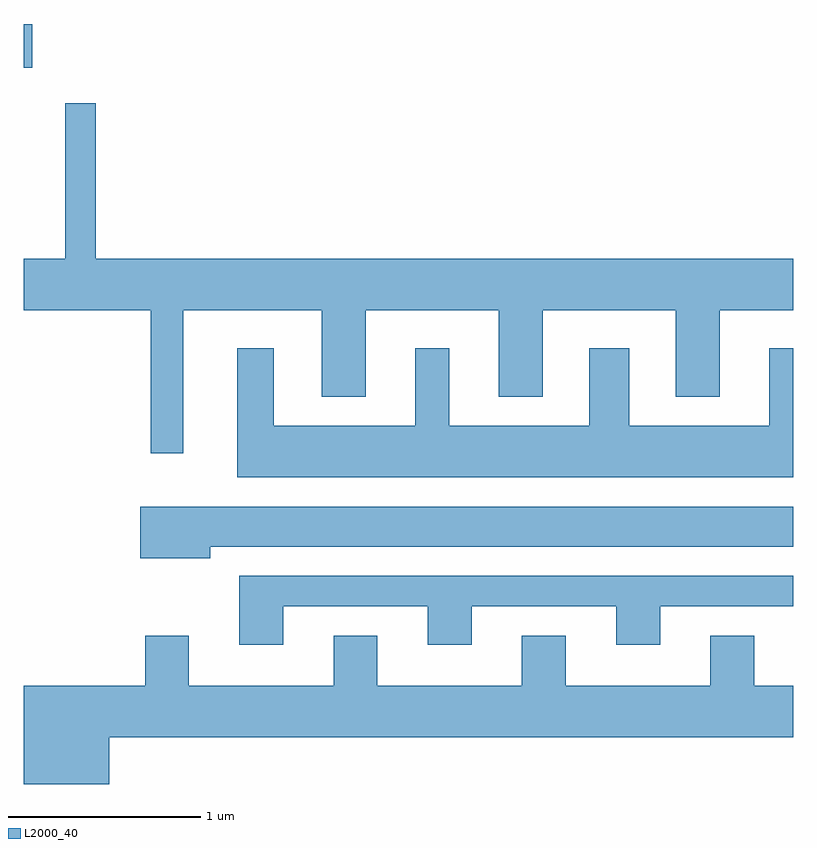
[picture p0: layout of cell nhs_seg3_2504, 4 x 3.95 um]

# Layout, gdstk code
import gdstk
lib = gdstk.Library(unit=1e-6, precision=1e-09)
def R(c, l, rs):  # rectangles x0, y0, x1, y1
    for r in rs: c.add(gdstk.rectangle(r[:2], r[2:], *l))
def P(c, l, *ps):  # polygons
    for p in ps: c.add(gdstk.Polygon(p, *l))
L2000_40 = (2000, 40)

nhs_seg3_2504 = lib.new_cell('nhs_seg3_2504')
R(nhs_seg3_2504, L2000_40, [(257.611,1231.616,257.654,1231.844)])
P(nhs_seg3_2504, L2000_40, [(258.439,1230.356),(259.161,1230.356),(259.161,1229.906),(259.389,1229.906),(259.389,1230.356),(260.081,1230.356),(260.081,1229.906),(260.309,1229.906),(260.309,1230.356),(261.001,1230.356),(261.001,1229.906),(261.229,1229.906),(261.229,1230.356),(261.611,1230.356),(261.611,1230.624),(257.984,1230.624),(257.984,1231.433),(257.826,1231.433),(257.826,1230.624),(257.611,1230.624),(257.611,1230.356),(258.271,1230.356),(258.271,1229.613),(258.439,1229.613)],
  [(261.611,1230.159),(261.486,1230.159),(261.486,1229.754),(260.759,1229.754),(260.759,1230.159),(260.551,1230.159),(260.551,1229.754),(259.824,1229.754),(259.824,1230.159),(259.646,1230.159),(259.646,1229.754),(258.909,1229.754),(258.909,1230.159),(258.721,1230.159),(258.721,1229.486),(261.611,1229.486)],
  [(258.579,1229.126),(261.611,1229.126),(261.611,1229.334),(258.216,1229.334),(258.216,1229.066),(258.579,1229.066)],
  [(258.959,1228.816),(259.711,1228.816),(259.711,1228.616),(259.939,1228.616),(259.939,1228.816),(260.691,1228.816),(260.691,1228.616),(260.919,1228.616),(260.919,1228.816),(261.611,1228.816),(261.611,1228.974),(258.731,1228.974),(258.731,1228.616),(258.959,1228.616)],
  [(261.611,1228.404),(261.409,1228.404),(261.409,1228.664),(261.181,1228.664),(261.181,1228.404),(260.429,1228.404),(260.429,1228.664),(260.201,1228.664),(260.201,1228.404),(259.449,1228.404),(259.449,1228.664),(259.221,1228.664),(259.221,1228.404),(258.469,1228.404),(258.469,1228.664),(258.241,1228.664),(258.241,1228.404),(257.611,1228.404),(257.611,1227.892),(258.054,1227.892),(258.054,1228.136),(261.611,1228.136)])

lib.write_gds('nhs_seg3_2504.gds')
